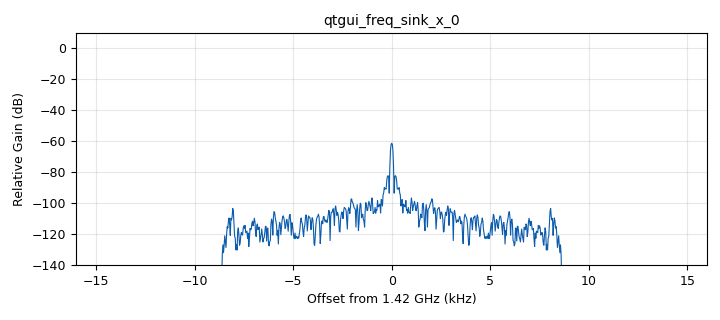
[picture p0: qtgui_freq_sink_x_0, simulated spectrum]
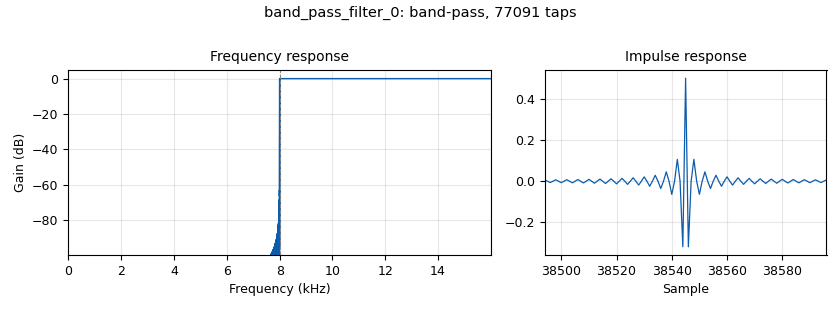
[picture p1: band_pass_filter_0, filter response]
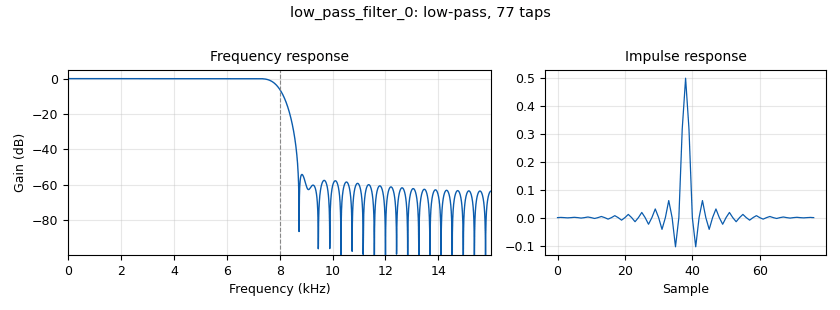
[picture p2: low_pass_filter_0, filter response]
options:
  parameters:
    generate_options: qt_gui
    id: Practice
    output_language: python
    title: Not titled yet
  states: {}

blocks:
- name: interferer_amp
  id: variable_qtgui_range
  parameters:
    start: '0'
    step: '0.1'
    stop: '2.0'
    value: '0.1'
  states: {}
- name: samp_rate
  id: variable
  parameters:
    value: '32000'
  states: {}
- name: analog_noise_source_x_0
  id: analog_noise_source_x
  parameters:
    amp: interferer_amp
    noise_type: analog.GR_GAUSSIAN
    seed: '0'
    type: float
  states: {}
- name: band_pass_filter_0
  id: band_pass_filter
  parameters:
    decim: '1'
    gain: '1'
    high_cutoff_freq: '16000'
    low_cutoff_freq: '8000'
    samp_rate: samp_rate
    type: fir_filter_fff
    width: '1'
    win: window.WIN_HAMMING
  states: {}
- name: blocks_add_xx_0
  id: blocks_add_xx
  parameters:
    type: float
  states: {}
- name: blocks_moving_average_xx_0
  id: blocks_moving_average_xx
  parameters:
    length: '1000'
    max_iter: '4000'
    scale: '0.001'
    type: float
  states: {}
- name: blocks_throttle2_0
  id: blocks_throttle2
  parameters:
    samples_per_second: samp_rate
    type: float
  states: {}
- name: digital_glfsr_source_x_0
  id: digital_glfsr_source_x
  parameters:
    degree: '12'
    mask: '0'
    repeat: 'True'
    seed: '1'
    type: float
  states: {}
- name: epy_block_0
  id: epy_block
  parameters:
    _source_code: |-
      import os
      import queue
      import threading
      import time
      import numpy as np
      from gnuradio import gr
      import requests

      class civicpulse_http_sink(gr.sync_block):
          """
          CivicPulse HTTP Telemetry Sink
          Calculates average power (dB) and posts JSON to CivicPulse asynchronously.
          Supports Render deployments and suppressed connection timeouts.
          """
          def __init__(self, url="http://127.0.0.1:7070/ingest", mac="AA:BB:CC:DD:EE:FF", node_type="utilityline"):
              gr.sync_block.__init__(
                  self,
                  name='CivicPulse HTTP Sink',
                  in_sig=[np.float32],  # Accepts float stream from your filters/moving average
                  out_sig=None           # Sink block (no output stream)
              )
              if "[" in url and "](" in url:
                  url = url.split("](")[1].rstrip(")")
              target_url = url.strip().strip("'\"")

              # Automatically resolve environment variable if deployed on Render or configured externally
              env_url = (os.environ.get("CIVICPULSE_URL") or 
                         os.environ.get("CIVICPULSE_INGEST_URL") or 
                         os.environ.get("RENDER_EXTERNAL_URL") or 
                         os.environ.get("RENDER_URL"))
              if env_url:
                  env_url = env_url.strip().strip("'\"")
                  if not env_url.endswith("/ingest"):
                      env_url = env_url.rstrip("/") + "/ingest"
                  target_url = env_url

              self.url = target_url
              self.mac = mac.strip().strip("'\"")
              self.node_type = node_type.strip().strip("'\"")
              self.api_key = os.environ.get("CIVICPULSE_API_KEY", "").strip()
              self.last_send_time = 0.0

              # Background worker queue to prevent blocking the DSP work() loop
              self.queue = queue.Queue(maxsize=2)
              self.running = True
              self.connected = False
              self.last_warning_time = 0.0

              self.worker = threading.Thread(target=self._dispatch_loop, name="civicpulse-async-poster", daemon=True)
              self.worker.start()

          def work(self, input_items, output_items):
              in0 = input_items[0]
              current_time = time.time()
              
              # Enqueue telemetry once every 1.0 second to avoid flooding
              if len(in0) > 0 and (current_time - self.last_send_time) >= 1.0:
                  power_rms = float(np.mean(in0**2))
                  power_db = float(10 * np.log10(power_rms + 1e-12))

                  payload = {
                      "nodeType": self.node_type,
                      "mac": self.mac,
                      "rfPowerDb": round(power_db, 2),
                      "ts": int(current_time * 1000)
                  }

                  try:
                      # Discard stale if queue is full and put new reading
                      if self.queue.full():
                          try:
                              self.queue.get_nowait()
                          except queue.Empty:
                              pass
                      self.queue.put_nowait((payload, power_db))
                  except queue.Full:
                      pass

                  self.last_send_time = current_time

              return len(in0)

          def _dispatch_loop(self):
              headers = {"Content-Type": "application/json"}
              if self.api_key:
                  headers["X-API-Key"] = self.api_key

              while self.running:
                  try:
                      payload, power_db = self.queue.get(timeout=0.5)
                  except queue.Empty:
                      continue

                  try:
                      resp = requests.post(self.url, json=payload, headers=headers, timeout=1.5)
                      if not self.connected:
                          print(f"[CivicPulse Sink] Connected successfully to {self.url} (HTTP {resp.status_code})")
                          self.connected = True
                      else:
                          print(f"[CivicPulse Sink] Ingested RF Power: {round(power_db, 2)} dB -> HTTP {resp.status_code}")
                  except (requests.exceptions.RequestException, Exception) as e:
                      # Gracefully handle timeouts and connection refusals without spamming or throwing errors
                      now = time.time()
                      self.connected = False
                      if now - self.last_warning_time >= 20.0:
                          print(f"[CivicPulse Sink Notice] Target {self.url} currently unreachable (offline or timeout). "
                                f"Telemetry will retry automatically in background. "
                                f"(Tip: Set CIVICPULSE_URL to your Render app URL e.g. https://<app>.onrender.com/ingest)")
                          self.last_warning_time = now

          def stop(self):
              self.running = False
              return True
    mac: '''AA:BB:CC:DD:EE:FF'''
    node_type: '''utilityline'''
    url: '''http://127.0.0.1:7070/ingest'''
  states: {}
- name: low_pass_filter_0
  id: low_pass_filter
  parameters:
    cutoff_freq: '8000'
    decim: '1'
    gain: '1'
    samp_rate: samp_rate
    type: fir_filter_fff
    width: '1000'
    win: window.WIN_HAMMING
  states: {}
- name: qtgui_freq_sink_x_0
  id: qtgui_freq_sink_x
  parameters:
    bw: samp_rate
    fc: '1420000000'
    fftsize: '1024'
    type: float
  states: {}

connections:
- [analog_noise_source_x_0, '0', blocks_add_xx_0, '0']
- [band_pass_filter_0, '0', blocks_add_xx_0, '1']
- [blocks_add_xx_0, '0', blocks_throttle2_0, '0']
- [blocks_moving_average_xx_0, '0', epy_block_0, '0']
- [blocks_moving_average_xx_0, '0', qtgui_freq_sink_x_0, '0']
- [blocks_throttle2_0, '0', low_pass_filter_0, '0']
- [digital_glfsr_source_x_0, '0', band_pass_filter_0, '0']
- [low_pass_filter_0, '0', blocks_moving_average_xx_0, '0']

metadata:
  file_format: 1
  grc_version: 3.10.12.0
